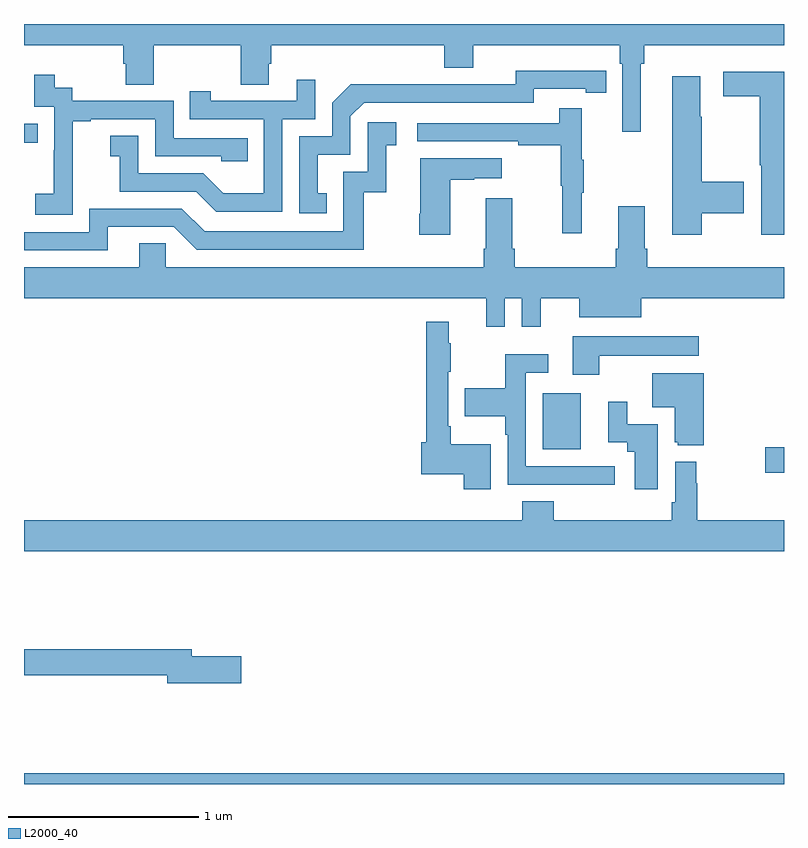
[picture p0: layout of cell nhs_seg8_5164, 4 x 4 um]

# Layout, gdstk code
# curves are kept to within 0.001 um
import gdstk
lib = gdstk.Library(unit=1e-6, precision=1e-09)
def R(c, l, rs):  # rectangles x0, y0, x1, y1
    for r in rs: c.add(gdstk.rectangle(r[:2], r[2:], *l))
def P(c, l, *ps):  # polygons
    for p in ps: c.add(gdstk.Polygon(p, *l))
L2000_40 = (2000, 40)

nhs_seg8_5164 = lib.new_cell('nhs_seg8_5164')
R(nhs_seg8_5164, L2000_40, [(421,1157.9,425,1157.956), (424.902,1159.538,425,1159.673), (423.731,1159.661,423.931,1159.957), (421,1161.274,421.073,1161.375)])
P(nhs_seg8_5164, L2000_40, [(425,1161.9),(421,1161.9),(421,1161.788),(421.523,1161.788),(421.523,1161.69),(421.535,1161.69),(421.535,1161.58),(421.683,1161.58),(421.683,1161.788),(422.14,1161.788),(422.14,1161.58),(422.287,1161.58),(422.287,1161.69),(422.3,1161.69),(422.3,1161.788),(423.212,1161.788),(423.212,1161.671),(423.364,1161.671),(423.364,1161.788),(424.136,1161.788),(424.136,1161.692),(424.149,1161.692),(424.149,1161.333),(424.246,1161.333),(424.246,1161.692),(424.265,1161.692),(424.265,1161.788),(425,1161.788)],
  [(422.594,1161.009),(422.545,1161.009),(422.545,1161.213),(422.718,1161.213),(422.718,1161.414),(422.79,1161.486),(423.684,1161.486),(423.684,1161.558),(423.956,1161.558),(423.956,1161.538),(424.064,1161.538),(424.064,1161.654),(423.588,1161.655),(423.588,1161.582),(423.128,1161.582),(423.128,1161.584),(422.72,1161.584),(422.622,1161.486),(422.622,1161.309),(422.448,1161.309),(422.448,1160.904),(422.594,1160.904)],
  [(425,1161.649),(424.68,1161.649),(424.68,1161.52),(424.873,1161.52),(424.873,1161.157),(424.88,1161.157),(424.88,1160.79),(425,1160.79)],
  [(421.257,1161.103),(421.256,1161.103),(421.256,1161.387),(421.351,1161.387),(421.351,1161.399),(421.692,1161.399),(421.692,1161.204),(422.037,1161.204),(422.037,1161.177),(422.177,1161.177),(422.177,1161.3),(421.788,1161.3),(421.788,1161.495),(421.254,1161.495),(421.254,1161.564),(421.162,1161.564),(421.162,1161.634),(421.053,1161.634),(421.053,1161.465),(421.158,1161.465),(421.158,1161.236),(421.157,1161.236),(421.157,1161.007),(421.059,1161.007),(421.059,1160.897),(421.257,1160.897)],
  [(424.566,1160.903),(424.789,1160.903),(424.789,1161.069),(424.566,1161.069),(424.566,1161.412),(424.558,1161.412),(424.558,1161.625),(424.412,1161.625),(424.412,1160.79),(424.566,1160.79)],
  [(422.358,1161.399),(422.532,1161.399),(422.532,1161.607),(422.435,1161.607),(422.435,1161.495),(421.984,1161.495),(421.984,1161.547),(421.873,1161.547),(421.873,1161.399),(422.262,1161.399),(422.262,1161.01),(422.048,1161.01),(421.944,1161.114),(421.602,1161.114),(421.602,1161.313),(421.455,1161.313),(421.455,1161.203),(421.504,1161.203),(421.504,1161.018),(421.907,1161.018),(422.012,1160.913),(422.358,1160.913)],
  [(423.935,1161.011),(423.946,1161.011),(423.946,1161.185),(423.935,1161.185),(423.935,1161.457),(423.817,1161.457),(423.817,1161.378),(423.069,1161.378),(423.069,1161.282),(423.601,1161.282),(423.601,1161.262),(423.825,1161.262),(423.825,1161.048),(423.832,1161.048),(423.832,1160.799),(423.935,1160.799)],
  [(421.441,1160.832),(421.788,1160.832),(421.908,1160.712),(422.788,1160.712),(422.788,1161.015),(422.906,1161.015),(422.906,1161.261),(422.959,1161.261),(422.959,1161.382),(422.808,1161.382),(422.808,1161.123),(422.679,1161.123),(422.679,1160.808),(421.95,1160.808),(421.83,1160.928),(421.344,1160.928),(421.344,1160.805),(421,1160.805),(421,1160.709),(421.441,1160.709)],
  [(423.244,1161.079),(423.371,1161.079),(423.371,1161.089),(423.514,1161.089),(423.514,1161.193),(423.086,1161.193),(423.086,1160.902),(423.079,1160.902),(423.079,1160.79),(423.244,1160.79)],
  [(423.621,1160.307),(423.719,1160.307),(423.719,1160.456),(423.923,1160.456),(423.923,1160.357),(424.249,1160.357),(424.249,1160.456),(425,1160.456),(425,1160.62),(424.28,1160.62),(424.28,1160.716),(424.267,1160.716),(424.267,1160.941),(424.127,1160.941),(424.127,1160.716),(424.115,1160.716),(424.115,1160.62),(423.584,1160.62),(423.584,1160.716),(423.571,1160.716),(423.571,1160.983),(423.431,1160.983),(423.431,1160.716),(423.419,1160.716),(423.419,1160.62),(421.746,1160.62),(421.746,1160.747),(421.607,1160.747),(421.607,1160.62),(421,1160.62),(421,1160.456),(423.434,1160.456),(423.434,1160.307),(423.531,1160.307),(423.531,1160.456),(423.621,1160.456)],
  [(423.457,1159.687),(423.247,1159.687),(423.247,1159.783),(423.234,1159.783),(423.234,1160.071),(423.247,1160.071),(423.247,1160.219),(423.236,1160.219),(423.236,1160.332),(423.118,1160.332),(423.118,1159.7),(423.092,1159.7),(423.092,1159.529),(423.314,1159.529),(423.314,1159.452),(423.457,1159.452)],
  [(424.027,1160.153),(424.552,1160.153),(424.552,1160.257),(423.887,1160.257),(423.887,1160.055),(424.027,1160.055)],
  [(424.108,1159.572),(423.642,1159.572),(423.642,1160.064),(423.76,1160.064),(423.76,1160.161),(423.534,1160.161),(423.534,1159.983),(423.319,1159.983),(423.319,1159.835),(423.534,1159.835),(423.534,1159.739),(423.546,1159.739),(423.546,1159.476),(423.871,1159.476),(423.871,1159.475),(424.108,1159.475)],
  [(424.577,1160.062),(424.307,1160.062),(424.307,1159.883),(424.424,1159.883),(424.424,1159.698),(424.44,1159.698),(424.44,1159.682),(424.577,1159.682)],
  [(424.336,1159.794),(424.174,1159.794),(424.174,1159.912),(424.076,1159.912),(424.076,1159.698),(424.175,1159.698),(424.175,1159.648),(424.214,1159.648),(424.214,1159.452),(424.336,1159.452)],
  [(425,1159.288),(424.544,1159.288),(424.544,1159.484),(424.537,1159.484),(424.537,1159.597),(424.428,1159.597),(424.428,1159.384),(424.408,1159.384),(424.408,1159.288),(423.788,1159.288),(423.788,1159.387),(423.623,1159.387),(423.623,1159.288),(421,1159.288),(421,1159.124),(425,1159.124)],
  [(422.143,1158.572),(421.882,1158.572),(421.882,1158.608),(421,1158.608),(421,1158.472),(421.754,1158.472),(421.754,1158.43),(422.143,1158.43)])

lib.write_gds('nhs_seg8_5164.gds')
